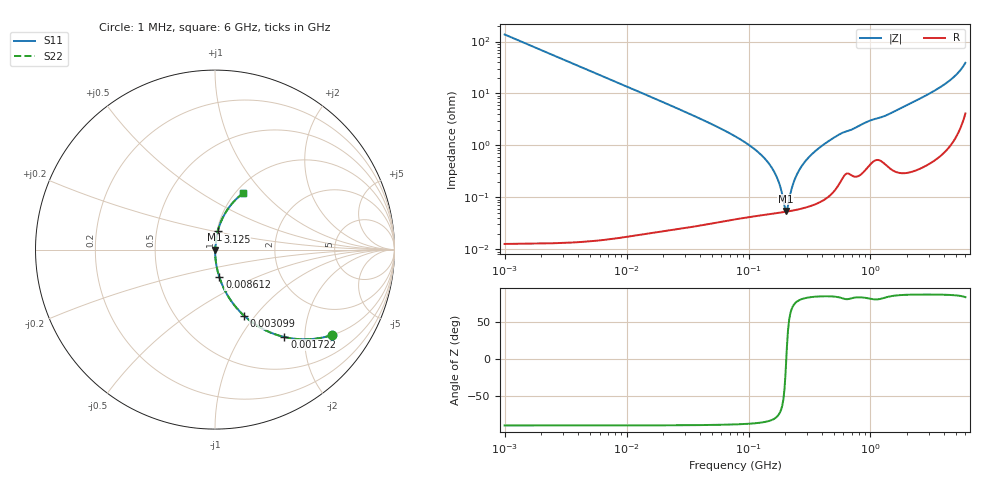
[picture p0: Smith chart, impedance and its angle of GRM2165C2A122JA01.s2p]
!Murata Part Number: GRM2165C2A122JA01
!These Parameters are Measured in Series Mode Connection
!Data Generated on Mar 30, 2021
!  o--ll--o
!Port1  Port2
!  o------o
!Operation Temp=25[degC], DC Bias Voltage=0[V]
!Freq. Start=1000[kHz] Stop=6[GHz] 401[Steps]
# Hz S RI R 50
!Freq.(Hz) S11(Real) S11(Imag) S21(Real) S21(Imag) S12(Real) S12(Imag) S22(Real) S22(Imag)
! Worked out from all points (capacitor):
!   401 points, 1 MHz to 6 GHz, reference 50 ohm
!   read as one part in series: C = 1.16 nF near 1.044 MHz
!   lowest |Z| = 54.7 mohm at 201.7 MHz (marker M1)
!   series resonance near 204 MHz, so ESL is about 520 pH
!   S11 on the Smith chart (normalised r, x): 1 MHz: 1.00, -2.74; 1.722 MHz: 1.00, -1.59; 3.099 MHz: 1.00, -0.88; 8.612 MHz: 1.00, -0.32; 3.125 GHz: 1.01, +0.21; 6 GHz: 1.08, +0.77
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1000000  0.6518 -0.4764  0.3482 0.4764  0.3482 0.4764  0.6518 -0.4764
1722402  0.3869 -0.487  0.6131 0.487  0.6131 0.487  0.3869 -0.487
3098558  0.1632 -0.3694  0.8368 0.3694  0.8368 0.3694  0.1632 -0.3694
4293785  0.0922 -0.2891  0.9078 0.2891  0.9078 0.2891  0.0922 -0.2891
8611770  0.0247 -0.1546  0.9753 0.1546  0.9753 0.1546  0.0247 -0.1546
1.843659e7  0.00559 -0.0731  0.9944 0.0731  0.9944 0.0731  0.00559 -0.0731
7.745967e7  0.0006 -0.015  0.9994 0.015  0.9994 0.015  0.0006 -0.015
1.145757e8  0.000499 -0.0081  0.9995 0.0081  0.9995 0.0081  0.000499 -0.0081
1.487431e8  0.00049 -0.00427  0.9995 0.00427  0.9995 0.00427  0.00049 -0.00427
1.732027e8  0.000502 -0.00218  0.9995 0.00218  0.9995 0.00218  0.000502 -0.00218
1.973453e8  0.000521 -0.00044  0.9995 0.00044  0.9995 0.00044  0.000521 -0.00044
2.016844e8  0.000525 -0.00015  0.9995 0.00015  0.9995 0.00015  0.000525 -0.00015
2.106508e8  0.000535 0.000429  0.9995 -0.000429  0.9995 -0.000429  0.000535 0.000429
2.297971e8  0.000557 0.00159  0.9994 -0.00159  0.9994 -0.00159  0.000557 0.00159
2.506837e8  0.000586 0.00277  0.9994 -0.00277  0.9994 -0.00277  0.000586 0.00277
2.856264e8  0.000643 0.00458  0.9994 -0.00458  0.9994 -0.00458  0.000643 0.00458
3.325952e8  0.000742 0.00681  0.9993 -0.00681  0.9993 -0.00681  0.000742 0.00681
5.60538e8  0.00215 0.0163  0.9978 -0.0163  0.9978 -0.0163  0.00215 0.0163
1.428092e9  0.00525 0.0399  0.9947 -0.0399  0.9947 -0.0399  0.00525 0.0399
3.124567e9  0.0149 0.101  0.9851 -0.101  0.9851 -0.101  0.0149 0.101
4.52232e9  0.0409 0.1728  0.9591 -0.1728  0.9591 -0.1728  0.0409 0.1728
6e9  0.1562 0.3137  0.8438 -0.3137  0.8438 -0.3137  0.1562 0.3137
